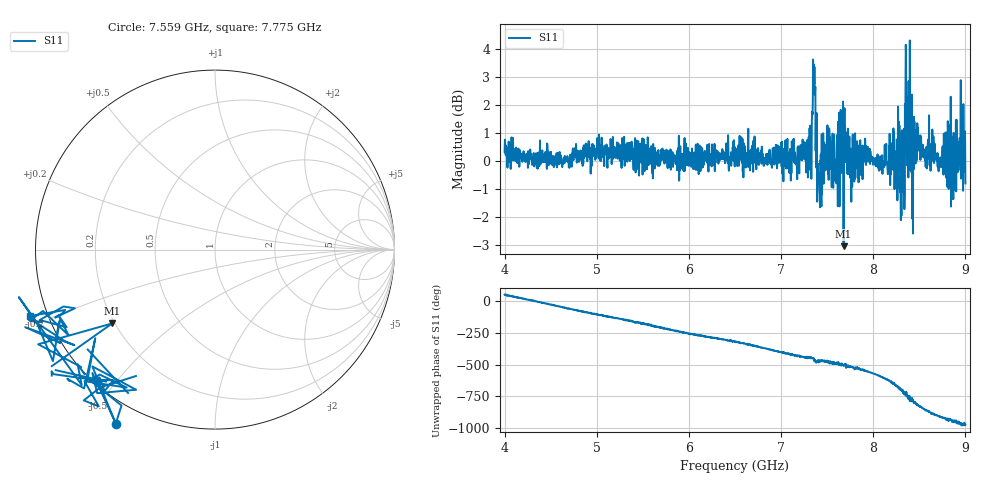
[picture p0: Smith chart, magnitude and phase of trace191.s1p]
! Created with skrf 1.8.0 (http://scikit-rf.org).
# Hz S RI R 50.0
!freq ReS11 ImS11
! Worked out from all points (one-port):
!   1601 points, 4 GHz to 9 GHz, reference 50 ohm
!   lowest |S11| = -3.0 dB at 7.678 GHz (marker M1), VSWR 5.78, Z = 9.52 - j15.6 ohm
!   |S11| at or under -10 dB: nowhere
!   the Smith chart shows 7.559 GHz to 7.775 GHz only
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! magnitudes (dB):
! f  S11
! 4 GHz  0.3
! 4.625 GHz  -0.2
! 5.25 GHz  0.0
! 5.875 GHz  0.4
! 6.5 GHz  0.5
! 7.125 GHz  0.0
! 7.306 GHz  -0.3
! 7.356 GHz  3.4
! 7.372 GHz  2.6
! 7.4 GHz  -0.1
! 7.416 GHz  -1.0
! 7.478 GHz  0.3
! 7.609 GHz  0.9
! 7.65 GHz  1.4
! 7.678 GHz  -3.0
! 7.75 GHz  -0.5
! 7.828 GHz  0.4
! 8.244 GHz  -0.3
! 8.316 GHz  -0.1
! 8.334 GHz  1.1
! 8.375 GHz  2.3
! 8.406 GHz  1.3
! 8.447 GHz  1.4
! 8.466 GHz  0.2
! 8.556 GHz  0.1
! 8.844 GHz  -1.6
! 8.956 GHz  -0.3
! 9 GHz  -0.8
